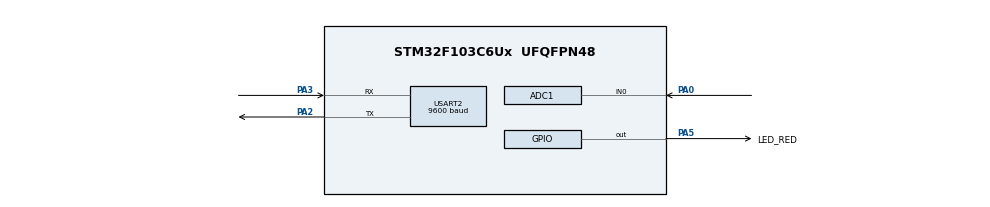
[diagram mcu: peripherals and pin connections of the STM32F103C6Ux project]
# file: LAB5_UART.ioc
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ADC1.Channel-0\#ChannelRegularConversion=ADC_CHANNEL_0
ADC1.ContinuousConvMode=ENABLE
ADC1.NbrOfConversionFlag=1
ADC1.Rank-0\#ChannelRegularConversion=1
ADC1.SamplingTime-0\#ChannelRegularConversion=ADC_SAMPLETIME_1CYCLE_5
ADC1.master=1
Mcu.Family=STM32F1
Mcu.Name=STM32F103C6Ux
Mcu.Package=UFQFPN48
NVIC.ADC1_2_IRQn=true\:0\:0\:false\:false\:true\:true\:true\:true
NVIC.PriorityGroup=NVIC_PRIORITYGROUP_4
NVIC.TIM2_IRQn=true\:0\:0\:false\:false\:true\:true\:true\:true
NVIC.USART2_IRQn=true\:0\:0\:false\:false\:true\:true\:true\:true
PA0-WKUP.Signal=ADCx_IN0
PA2.Mode=Asynchronous
PA2.Signal=USART2_TX
PA3.Mode=Asynchronous
PA3.Signal=USART2_RX
PA5.GPIO_Label=LED_RED
PA5.Signal=GPIO_Output
ProjectManager.HeapSize=0x200
ProjectManager.StackSize=0x400
ProjectManager.TargetToolchain=STM32CubeIDE
RCC.APB1Freq_Value=8000000
RCC.APB2Freq_Value=8000000
SH.ADCx_IN0.0=ADC1_IN0,IN0
TIM2.Period=9
TIM2.Prescaler=7999
USART2.BaudRate=9600
USART2.VirtualMode=VM_ASYNC
VP_SYS_VS_ND.Mode=No_Debug
VP_TIM2_VS_ClockSourceINT.Mode=Internal
board=custom

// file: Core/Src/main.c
/* USER CODE BEGIN Header */
/**
  ******************************************************************************
  * @file           : main.c
  * @brief          : Main program body
  ******************************************************************************
  * @attention
  *
  * <h2><center>&copy; Copyright (c) 2023 STMicroelectronics.
  * All rights reserved.</center></h2>
  *
  * This software component is licensed by ST under BSD 3-Clause license,
  * the "License"; You may not use this file except in compliance with the
  * License. You may obtain a copy of the License at:
  *                        opensource.org/licenses/BSD-3-Clause
  *
  ******************************************************************************
  */
/* USER CODE END Header */
#include "main.h"

/* USER CODE BEGIN Includes */
#include "global.h"
/* USER CODE END Includes */

ADC_HandleTypeDef hadc1;

TIM_HandleTypeDef htim2;

UART_HandleTypeDef huart2;

void SystemClock_Config(void);
static void MX_GPIO_Init(void);
static void MX_ADC1_Init(void);
static void MX_USART2_UART_Init(void);
static void MX_TIM2_Init(void);

/* USER CODE BEGIN 0 */
void uart_communication_fsm ();
 void HAL_UART_RxCpltCallback ( UART_HandleTypeDef * huart ) {
 if( huart -> Instance == USART2 ) {
	 HAL_UART_Transmit (& huart2 , & temp , 1 , 50) ;
	 buffer[index_buffer++]=temp;
	 if(index_buffer == MAX_BUFFER_SIZE){
		 index_buffer=0;
	 }
	 buffer_flag=1;
	 HAL_UART_Receive_IT (& huart2 , & temp , 1) ;
 }
 }
/* USER CODE END 0 */

int main(void)
{

  /* MCU Configuration--------------------------------------------------------*/

  /* Reset of all peripherals, Initializes the Flash interface and the Systick. */
  HAL_Init();

  /* Configure the system clock */
  SystemClock_Config();

  /* Initialize all configured peripherals */
  MX_GPIO_Init();
  MX_ADC1_Init();
  MX_USART2_UART_Init();
  MX_TIM2_Init();
  /* USER CODE BEGIN 2 */
  HAL_ADC_Start(&hadc1);
  HAL_TIM_Base_Start_IT(&htim2);
  HAL_UART_Receive_IT (&huart2 , &temp , 1) ;
  HAL_ADC_Start(&hadc1);
  /* USER CODE END 2 */

  /* Infinite loop */
  /* USER CODE BEGIN WHILE */
  setTimer1(10);
  while (1)
  {
    /* USER CODE END WHILE */

    /* USER CODE BEGIN 3 */
	  if(buffer_flag == 1) {
	 	 		  command_parser_fsm() ;
	 	 		  buffer_flag = 0;
	 	  }
	 	  uart_communication_fsm ();
  }
  /* USER CODE END 3 */
}

void SystemClock_Config(void)
{
  RCC_OscInitTypeDef RCC_OscInitStruct = {0};
  RCC_ClkInitTypeDef RCC_ClkInitStruct = {0};
  RCC_PeriphCLKInitTypeDef PeriphClkInit = {0};

  /** Initializes the RCC Oscillators according to the specified parameters
  * in the RCC_OscInitTypeDef structure.
  */
  RCC_OscInitStruct.OscillatorType = RCC_OSCILLATORTYPE_HSI;
  RCC_OscInitStruct.HSIState = RCC_HSI_ON;
  RCC_OscInitStruct.HSICalibrationValue = RCC_HSICALIBRATION_DEFAULT;
  RCC_OscInitStruct.PLL.PLLState = RCC_PLL_NONE;
  if (HAL_RCC_OscConfig(&RCC_OscInitStruct) != HAL_OK)
  {
    Error_Handler();
  }
  /** Initializes the CPU, AHB and APB buses clocks
  */
  RCC_ClkInitStruct.ClockType = RCC_CLOCKTYPE_HCLK|RCC_CLOCKTYPE_SYSCLK
                              |RCC_CLOCKTYPE_PCLK1|RCC_CLOCKTYPE_PCLK2;
  RCC_ClkInitStruct.SYSCLKSource = RCC_SYSCLKSOURCE_HSI;
  RCC_ClkInitStruct.AHBCLKDivider = RCC_SYSCLK_DIV1;
  RCC_ClkInitStruct.APB1CLKDivider = RCC_HCLK_DIV1;
  RCC_ClkInitStruct.APB2CLKDivider = RCC_HCLK_DIV1;

  if (HAL_RCC_ClockConfig(&RCC_ClkInitStruct, FLASH_LATENCY_0) != HAL_OK)
  {
    Error_Handler();
  }
  PeriphClkInit.PeriphClockSelection = RCC_PERIPHCLK_ADC;
  PeriphClkInit.AdcClockSelection = RCC_ADCPCLK2_DIV2;
  if (HAL_RCCEx_PeriphCLKConfig(&PeriphClkInit) != HAL_OK)
  {
    Error_Handler();
  }
}

static void MX_ADC1_Init(void)
{

  ADC_ChannelConfTypeDef sConfig = {0};

  /** Common config
  */
  hadc1.Instance = ADC1;
  hadc1.Init.ScanConvMode = ADC_SCAN_DISABLE;
  hadc1.Init.ContinuousConvMode = ENABLE;
  hadc1.Init.DiscontinuousConvMode = DISABLE;
  hadc1.Init.ExternalTrigConv = ADC_SOFTWARE_START;
  hadc1.Init.DataAlign = ADC_DATAALIGN_RIGHT;
  hadc1.Init.NbrOfConversion = 1;
  if (HAL_ADC_Init(&hadc1) != HAL_OK)
  {
    Error_Handler();
  }
  /** Configure Regular Channel
  */
  sConfig.Channel = ADC_CHANNEL_0;
  sConfig.Rank = ADC_REGULAR_RANK_1;
  sConfig.SamplingTime = ADC_SAMPLETIME_1CYCLE_5;
  if (HAL_ADC_ConfigChannel(&hadc1, &sConfig) != HAL_OK)
  {
    Error_Handler();
  }

}

static void MX_TIM2_Init(void)
{

  TIM_ClockConfigTypeDef sClockSourceConfig = {0};
  TIM_MasterConfigTypeDef sMasterConfig = {0};

  htim2.Instance = TIM2;
  htim2.Init.Prescaler = 7999;
  htim2.Init.CounterMode = TIM_COUNTERMODE_UP;
  htim2.Init.Period = 9;
  htim2.Init.ClockDivision = TIM_CLOCKDIVISION_DIV1;
  htim2.Init.AutoReloadPreload = TIM_AUTORELOAD_PRELOAD_DISABLE;
  if (HAL_TIM_Base_Init(&htim2) != HAL_OK)
  {
    Error_Handler();
  }
  sClockSourceConfig.ClockSource = TIM_CLOCKSOURCE_INTERNAL;
  if (HAL_TIM_ConfigClockSource(&htim2, &sClockSourceConfig) != HAL_OK)
  {
    Error_Handler();
  }
  sMasterConfig.MasterOutputTrigger = TIM_TRGO_RESET;
  sMasterConfig.MasterSlaveMode = TIM_MASTERSLAVEMODE_DISABLE;
  if (HAL_TIMEx_MasterConfigSynchronization(&htim2, &sMasterConfig) != HAL_OK)
  {
    Error_Handler();
  }

}

static void MX_USART2_UART_Init(void)
{

  huart2.Instance = USART2;
  huart2.Init.BaudRate = 9600;
  huart2.Init.WordLength = UART_WORDLENGTH_8B;
  huart2.Init.StopBits = UART_STOPBITS_1;
  huart2.Init.Parity = UART_PARITY_NONE;
  huart2.Init.Mode = UART_MODE_TX_RX;
  huart2.Init.HwFlowCtl = UART_HWCONTROL_NONE;
  huart2.Init.OverSampling = UART_OVERSAMPLING_16;
  if (HAL_UART_Init(&huart2) != HAL_OK)
  {
    Error_Handler();
  }

}

static void MX_GPIO_Init(void)
{
  GPIO_InitTypeDef GPIO_InitStruct = {0};

  /* GPIO Ports Clock Enable */
  __HAL_RCC_GPIOA_CLK_ENABLE();

  /*Configure GPIO pin Output Level */
  HAL_GPIO_WritePin(LED_RED_GPIO_Port, LED_RED_Pin, GPIO_PIN_RESET);

  /*Configure GPIO pin : LED_RED_Pin */
  GPIO_InitStruct.Pin = LED_RED_Pin;
  GPIO_InitStruct.Mode = GPIO_MODE_OUTPUT_PP;
  GPIO_InitStruct.Pull = GPIO_NOPULL;
  GPIO_InitStruct.Speed = GPIO_SPEED_FREQ_LOW;
  HAL_GPIO_Init(LED_RED_GPIO_Port, &GPIO_InitStruct);

}

/* USER CODE BEGIN 4 */
void HAL_TIM_PeriodElapsedCallback ( TIM_HandleTypeDef * htim ){
	timerRun();
}
 void uart_communication_fsm (){
	 switch(status_uart){
	 	 case UART_INIT:
	 		 break;
	 	 case UART_SEND:
	 		 if(timer1_flag==1){
	 			 ADC_value = HAL_ADC_GetValue(&hadc1);
	 			 HAL_UART_Transmit(&huart2, (void*)str, sprintf(str, "\r\n!%ld#\r\n",ADC_value), 1000);
	 			 HAL_GPIO_TogglePin(LED_RED_GPIO_Port, LED_RED_Pin);
	 			 setTimer1(3000);
	 		 }
	 		 break;
	 	 case UART_END:
	 		 HAL_UART_Transmit(&huart2, (void*)str, sprintf(str, "\r\n%s\r\n","END"), 1000);
	 		 status_uart = UART_INIT;
	 		 break;
	 	 default:
		  break;
	 }
 }
/* USER CODE END 4 */

void Error_Handler(void)
{
  __disable_irq();
  while (1)
  {
  }
}

/************************ (C) COPYRIGHT STMicroelectronics *****END OF FILE****/
